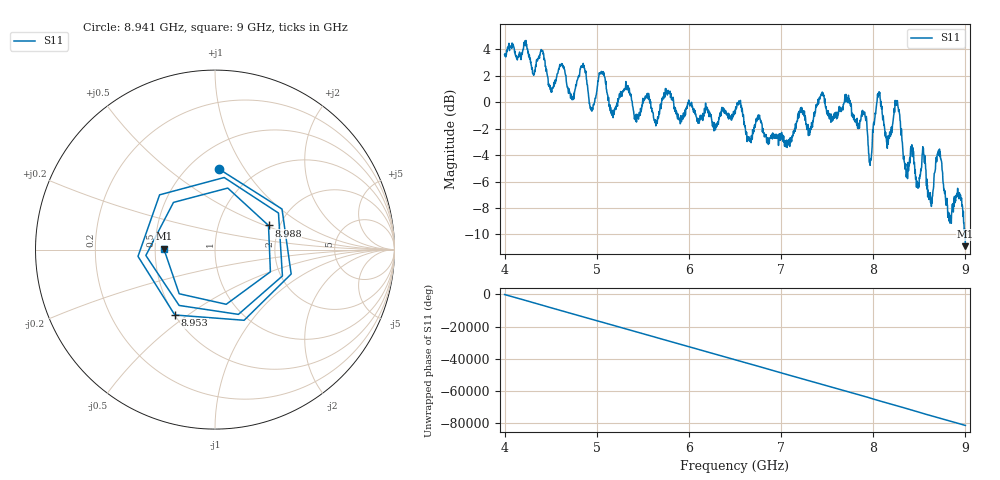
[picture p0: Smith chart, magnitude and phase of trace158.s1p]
! Created with skrf 1.8.0 (http://scikit-rf.org).
# Hz S RI R 50.0
!freq ReS11 ImS11
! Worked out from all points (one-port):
!   1601 points, 4 GHz to 9 GHz, reference 50 ohm
!   lowest |S11| = -10.9 dB at 9 GHz (marker M1), VSWR 1.80, Z = 27.8 + j0.335 ohm
!   |S11| at or under -10 dB: 8.99326 GHz to 8.996701 GHz (3.441 MHz wide, 0.0383 % of centre); 8.997053 GHz to end of sweep
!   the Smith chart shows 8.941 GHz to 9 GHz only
!   S11 on the Smith chart (normalised r, x): 8.941 GHz: 0.69, +0.78; 8.953 GHz: 0.50, -0.45; 8.988 GHz: 1.75, +0.53; 9 GHz: 0.56, +0.01
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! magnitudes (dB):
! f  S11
! 4 GHz  3.6
! 4.406 GHz  3.9
! 4.506 GHz  0.9
! 4.625 GHz  2.9
! 4.731 GHz  0.2
! 4.856 GHz  2.6
! 4.944 GHz  -0.6
! 5.047 GHz  2.3
! 5.162 GHz  -0.9
! 5.25 GHz  0.4
! 5.875 GHz  -1.2
! 6.5 GHz  -0.6
! 7.125 GHz  -2.5
! 7.75 GHz  0.0
! 7.903 GHz  -0.7
! 7.966 GHz  -4.8
! 8.053 GHz  0.6
! 8.153 GHz  -3.5
! 8.262 GHz  0.1
! 8.375 GHz  -5.1
! 8.547 GHz  -3.9
! 8.622 GHz  -7.6
! 8.716 GHz  -3.8
! 8.828 GHz  -8.6
! 8.941 GHz  -7.0
! 8.953 GHz  -7.4
! 8.988 GHz  -9.7
! 9 GHz  -10.9
